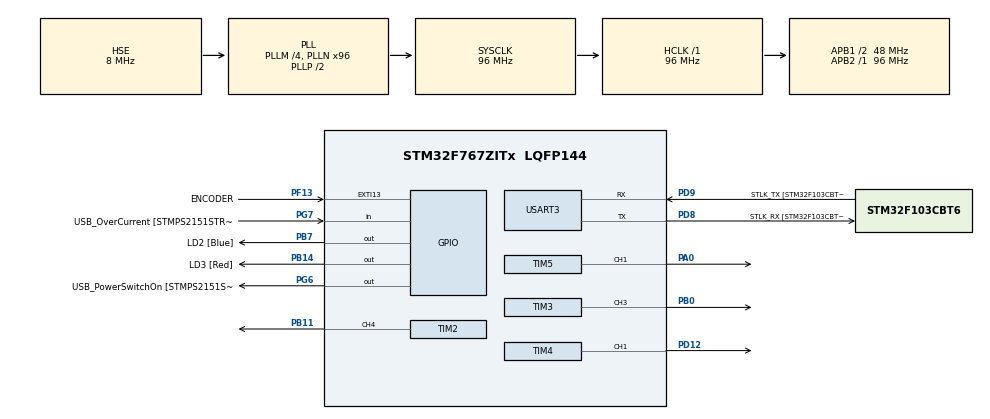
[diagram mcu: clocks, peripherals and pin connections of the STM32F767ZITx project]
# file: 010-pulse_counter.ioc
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Mcu.Family=STM32F7
Mcu.Name=STM32F767ZITx
Mcu.Package=LQFP144
NVIC.EXTI15_10_IRQn=true\:0\:0\:false\:false\:true\:true\:true\:true
NVIC.PriorityGroup=NVIC_PRIORITYGROUP_4
PA0/WKUP.Signal=S_TIM5_CH1
PA1.GPIO_Label=RMII_REF_CLK [LAN8742A-CZ-TR_REFCLK0]
PA1.Signal=ETH_REF_CLK
PA10.GPIO_Label=USB_ID
PA10.Signal=USB_OTG_FS_ID
PA11.GPIO_Label=USB_DM
PA11.Signal=USB_OTG_FS_DM
PA12.GPIO_Label=USB_DP
PA12.Signal=USB_OTG_FS_DP
PA13.GPIO_Label=TMS
PA13.Mode=Serial_Wire
PA13.Signal=SYS_JTMS-SWDIO
PA14.GPIO_Label=TCK
PA14.Mode=Serial_Wire
PA14.Signal=SYS_JTCK-SWCLK
PA2.GPIO_Label=RMII_MDIO [LAN8742A-CZ-TR_MDIO]
PA2.Signal=ETH_MDIO
PA7.GPIO_Label=RMII_CRS_DV [LAN8742A-CZ-TR_CRS_DV]
PA7.Signal=ETH_CRS_DV
PA8.GPIO_Label=USB_SOF [TP1]
PA8.Signal=USB_OTG_FS_SOF
PA9.GPIO_Label=USB_VBUS
PA9.Signal=USB_OTG_FS_VBUS
PB0.Signal=S_TIM3_CH3
PB11.Signal=S_TIM2_CH4
PB13.GPIO_Label=RMII_TXD1 [LAN8742A-CZ-TR_TXD1]
PB13.Signal=ETH_TXD1
PB14.GPIO_Label=LD3 [Red]
PB14.Signal=GPIO_Output
PB3.GPIO_Label=SWO
PB3.Signal=SYS_JTDO-SWO
PB7.GPIO_Label=LD2 [Blue]
PB7.Signal=GPIO_Output
PC1.GPIO_Label=RMII_MDC [LAN8742A-CZ-TR_MDC]
PC1.Signal=ETH_MDC
PC14/OSC32_IN.Mode=LSE-External-Oscillator
PC14/OSC32_IN.Signal=RCC_OSC32_IN
PC15/OSC32_OUT.Mode=LSE-External-Oscillator
PC15/OSC32_OUT.Signal=RCC_OSC32_OUT
PC4.GPIO_Label=RMII_RXD0 [LAN8742A-CZ-TR_RXD0]
PC4.Signal=ETH_RXD0
PC5.GPIO_Label=RMII_RXD1 [LAN8742A-CZ-TR_RXD1]
PC5.Signal=ETH_RXD1
PD12.Signal=S_TIM4_CH1
PD8.GPIO_Label=STLK_RX [STM32F103CBT6_PA3]
PD8.Mode=Asynchronous
PD8.Signal=USART3_TX
PD9.GPIO_Label=STLK_TX [STM32F103CBT6_PA2]
PD9.Mode=Asynchronous
PD9.Signal=USART3_RX
PF13.GPIO_Label=ENCODER
PF13.GPIO_PuPd=GPIO_PULLUP
PF13.Signal=GPXTI13
PG11.GPIO_Label=RMII_TX_EN [LAN8742A-CZ-TR_TXEN]
PG11.Signal=ETH_TX_EN
PG13.GPIO_Label=RMII_TXD0 [LAN8742A-CZ-TR_TXD0]
PG13.Signal=ETH_TXD0
PG6.GPIO_Label=USB_PowerSwitchOn [STMPS2151STR_EN]
PG6.Signal=GPIO_Output
PG7.GPIO_Label=USB_OverCurrent [STMPS2151STR_FAULT]
PG7.Signal=GPIO_Input
PH0/OSC_IN.GPIO_Label=MCO [STM32F103CBT6_PA8]
PH0/OSC_IN.Mode=HSE-External-Clock-Source
PH0/OSC_IN.Signal=RCC_OSC_IN
PH1/OSC_OUT.Mode=HSE-External-Clock-Source
PH1/OSC_OUT.Signal=RCC_OSC_OUT
ProjectManager.HeapSize=0x200
ProjectManager.StackSize=0x400
ProjectManager.TargetToolchain=STM32CubeIDE
RCC.48MHZClocksFreq_Value=24000000
RCC.AHBFreq_Value=96000000
RCC.APB1CLKDivider=RCC_HCLK_DIV2
RCC.APB1Freq_Value=48000000
RCC.APB1TimFreq_Value=96000000
RCC.APB2Freq_Value=96000000
RCC.APB2TimFreq_Value=96000000
RCC.CortexFreq_Value=96000000
RCC.HCLKFreq_Value=96000000
RCC.HSE_VALUE=8000000
RCC.HSI_VALUE=16000000
RCC.PLLM=4
RCC.PLLMUL=RCC_PLL_MUL9
RCC.PLLN=96
RCC.PLLQ=4
RCC.PLLSourceVirtual=RCC_PLLSOURCE_HSE
RCC.PRESCALERUSB=RCC_USBCLKSOURCE_PLL_DIV1_5
RCC.SYSCLKFreq_VALUE=96000000
RCC.SYSCLKSource=RCC_SYSCLKSOURCE_PLLCLK
RCC.SYSCLKSourceVirtual=RCC_SYSCLKSOURCE_PLLCLK
RCC.USBFreq_Value=48000000
RCC.VCOOutputFreq_Value=192000000
SH.S_TIM2_CH4.0=TIM2_CH4,PWM Generation4 CH4
SH.S_TIM3_CH3.0=TIM3_CH3,PWM Generation3 CH3
SH.S_TIM4_CH1.0=TIM4_CH1,PWM Generation1 CH1
SH.S_TIM5_CH1.0=TIM5_CH1,PWM Generation1 CH1
TIM2.Channel-PWM\ Generation4\ CH4=TIM_CHANNEL_4
TIM2.Period=1023
TIM2.Prescaler=128
TIM3.Channel-PWM\ Generation3\ CH3=TIM_CHANNEL_3
TIM3.Period=1023
TIM3.Prescaler=256
TIM4.Channel-PWM\ Generation1\ CH1=TIM_CHANNEL_1
TIM4.Period=1023
TIM4.Prescaler=1024
TIM5.Channel-PWM\ Generation1\ CH1=TIM_CHANNEL_1
TIM5.Period=1023
TIM5.Prescaler=512
USART3.VirtualMode-Asynchronous=VM_ASYNC
VP_TIM2_VS_ClockSourceINT.Mode=Internal
VP_TIM3_VS_ClockSourceINT.Mode=Internal
VP_TIM4_VS_ClockSourceINT.Mode=Internal
VP_TIM5_VS_ClockSourceINT.Mode=Internal
board=NUCLEO-F767ZI

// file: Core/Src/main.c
/* USER CODE BEGIN Header */
/**
 ******************************************************************************
 * @file           : main.c
 * @brief          : Main program body
 ******************************************************************************
 * @attention
 *
 * Copyright (c) 2022 STMicroelectronics.
 * All rights reserved.
 *
 * This software is licensed under terms that can be found in the LICENSE file
 * in the root directory of this software component.
 * If no LICENSE file comes with this software, it is provided AS-IS.
 *
 ******************************************************************************
 */
/* USER CODE END Header */
#include "main.h"

/* USER CODE BEGIN Includes */
#include <stdio.h>
#include <string.h>
/* USER CODE END Includes */

TIM_HandleTypeDef htim2;
TIM_HandleTypeDef htim3;
TIM_HandleTypeDef htim4;
TIM_HandleTypeDef htim5;

UART_HandleTypeDef huart3;

/* USER CODE BEGIN PV */
uint16_t counts;
/* USER CODE END PV */

void SystemClock_Config(void);
static void MX_GPIO_Init(void);
static void MX_USART3_UART_Init(void);
static void MX_TIM4_Init(void);
static void MX_TIM2_Init(void);
static void MX_TIM3_Init(void);
static void MX_TIM5_Init(void);

int main(void)
{

	/* MCU Configuration--------------------------------------------------------*/

	/* Reset of all peripherals, Initializes the Flash interface and the Systick. */
	HAL_Init();

	/* Configure the system clock */
	SystemClock_Config();

	/* Initialize all configured peripherals */
	MX_GPIO_Init();
	MX_USART3_UART_Init();
	MX_TIM4_Init();
	MX_TIM2_Init();
	MX_TIM3_Init();
	MX_TIM5_Init();
	/* USER CODE BEGIN 2 */
	char buffer_usart[32];

	HAL_TIM_PWM_Start(&htim2, TIM_CHANNEL_4);
	HAL_TIM_PWM_Start(&htim3, TIM_CHANNEL_3);
	HAL_TIM_PWM_Start(&htim4, TIM_CHANNEL_1);
	HAL_TIM_PWM_Start(&htim5, TIM_CHANNEL_1);

	int pulse = 52;

	__HAL_TIM_SET_COMPARE(&htim2, TIM_CHANNEL_4, pulse);
	__HAL_TIM_SET_COMPARE(&htim3, TIM_CHANNEL_3, pulse);
	__HAL_TIM_SET_COMPARE(&htim4, TIM_CHANNEL_1, pulse);
	__HAL_TIM_SET_COMPARE(&htim5, TIM_CHANNEL_1, pulse);
	/* USER CODE END 2 */

	/* Infinite loop */
	while (1){

		/* USER CODE BEGIN 3 */
		snprintf(buffer_usart, 16, "Counts: %d\n", counts);
		HAL_UART_Transmit(&huart3, buffer_usart, strlen(buffer_usart), 10);
		memset(&buffer_usart[0], 0, sizeof(buffer_usart)); // clear the buffer

		counts = 0;

		HAL_GPIO_TogglePin(LD3_GPIO_Port, LD3_Pin);
		HAL_Delay(500);
		HAL_GPIO_TogglePin(LD3_GPIO_Port, LD3_Pin);
		HAL_Delay(500);
	}
	/* USER CODE END 3 */
}

void SystemClock_Config(void)
{
	RCC_OscInitTypeDef RCC_OscInitStruct = {0};
	RCC_ClkInitTypeDef RCC_ClkInitStruct = {0};

	/** Configure LSE Drive Capability
	 */
	HAL_PWR_EnableBkUpAccess();

	/** Configure the main internal regulator output voltage
	 */
	__HAL_RCC_PWR_CLK_ENABLE();
	__HAL_PWR_VOLTAGESCALING_CONFIG(PWR_REGULATOR_VOLTAGE_SCALE3);

	/** Initializes the RCC Oscillators according to the specified parameters
	 * in the RCC_OscInitTypeDef structure.
	 */
	RCC_OscInitStruct.OscillatorType = RCC_OSCILLATORTYPE_HSE;
	RCC_OscInitStruct.HSEState = RCC_HSE_BYPASS;
	RCC_OscInitStruct.PLL.PLLState = RCC_PLL_ON;
	RCC_OscInitStruct.PLL.PLLSource = RCC_PLLSOURCE_HSE;
	RCC_OscInitStruct.PLL.PLLM = 4;
	RCC_OscInitStruct.PLL.PLLN = 96;
	RCC_OscInitStruct.PLL.PLLP = RCC_PLLP_DIV2;
	RCC_OscInitStruct.PLL.PLLQ = 4;
	RCC_OscInitStruct.PLL.PLLR = 2;
	if (HAL_RCC_OscConfig(&RCC_OscInitStruct) != HAL_OK)
	{
		Error_Handler();
	}

	/** Activate the Over-Drive mode
	 */
	if (HAL_PWREx_EnableOverDrive() != HAL_OK)
	{
		Error_Handler();
	}

	/** Initializes the CPU, AHB and APB buses clocks
	 */
	RCC_ClkInitStruct.ClockType = RCC_CLOCKTYPE_HCLK|RCC_CLOCKTYPE_SYSCLK
			|RCC_CLOCKTYPE_PCLK1|RCC_CLOCKTYPE_PCLK2;
	RCC_ClkInitStruct.SYSCLKSource = RCC_SYSCLKSOURCE_PLLCLK;
	RCC_ClkInitStruct.AHBCLKDivider = RCC_SYSCLK_DIV1;
	RCC_ClkInitStruct.APB1CLKDivider = RCC_HCLK_DIV2;
	RCC_ClkInitStruct.APB2CLKDivider = RCC_HCLK_DIV1;

	if (HAL_RCC_ClockConfig(&RCC_ClkInitStruct, FLASH_LATENCY_3) != HAL_OK)
	{
		Error_Handler();
	}
}

static void MX_TIM2_Init(void)
{

	TIM_ClockConfigTypeDef sClockSourceConfig = {0};
	TIM_MasterConfigTypeDef sMasterConfig = {0};
	TIM_OC_InitTypeDef sConfigOC = {0};

	htim2.Instance = TIM2;
	htim2.Init.Prescaler = 128;
	htim2.Init.CounterMode = TIM_COUNTERMODE_UP;
	htim2.Init.Period = 1023;
	htim2.Init.ClockDivision = TIM_CLOCKDIVISION_DIV1;
	htim2.Init.AutoReloadPreload = TIM_AUTORELOAD_PRELOAD_DISABLE;
	if (HAL_TIM_Base_Init(&htim2) != HAL_OK)
	{
		Error_Handler();
	}
	sClockSourceConfig.ClockSource = TIM_CLOCKSOURCE_INTERNAL;
	if (HAL_TIM_ConfigClockSource(&htim2, &sClockSourceConfig) != HAL_OK)
	{
		Error_Handler();
	}
	if (HAL_TIM_PWM_Init(&htim2) != HAL_OK)
	{
		Error_Handler();
	}
	sMasterConfig.MasterOutputTrigger = TIM_TRGO_RESET;
	sMasterConfig.MasterSlaveMode = TIM_MASTERSLAVEMODE_DISABLE;
	if (HAL_TIMEx_MasterConfigSynchronization(&htim2, &sMasterConfig) != HAL_OK)
	{
		Error_Handler();
	}
	sConfigOC.OCMode = TIM_OCMODE_PWM1;
	sConfigOC.Pulse = 0;
	sConfigOC.OCPolarity = TIM_OCPOLARITY_HIGH;
	sConfigOC.OCFastMode = TIM_OCFAST_DISABLE;
	if (HAL_TIM_PWM_ConfigChannel(&htim2, &sConfigOC, TIM_CHANNEL_4) != HAL_OK)
	{
		Error_Handler();
	}
	HAL_TIM_MspPostInit(&htim2);

}

static void MX_TIM3_Init(void)
{

	TIM_ClockConfigTypeDef sClockSourceConfig = {0};
	TIM_MasterConfigTypeDef sMasterConfig = {0};
	TIM_OC_InitTypeDef sConfigOC = {0};

	htim3.Instance = TIM3;
	htim3.Init.Prescaler = 256;
	htim3.Init.CounterMode = TIM_COUNTERMODE_UP;
	htim3.Init.Period = 1023;
	htim3.Init.ClockDivision = TIM_CLOCKDIVISION_DIV1;
	htim3.Init.AutoReloadPreload = TIM_AUTORELOAD_PRELOAD_DISABLE;
	if (HAL_TIM_Base_Init(&htim3) != HAL_OK)
	{
		Error_Handler();
	}
	sClockSourceConfig.ClockSource = TIM_CLOCKSOURCE_INTERNAL;
	if (HAL_TIM_ConfigClockSource(&htim3, &sClockSourceConfig) != HAL_OK)
	{
		Error_Handler();
	}
	if (HAL_TIM_PWM_Init(&htim3) != HAL_OK)
	{
		Error_Handler();
	}
	sMasterConfig.MasterOutputTrigger = TIM_TRGO_RESET;
	sMasterConfig.MasterSlaveMode = TIM_MASTERSLAVEMODE_DISABLE;
	if (HAL_TIMEx_MasterConfigSynchronization(&htim3, &sMasterConfig) != HAL_OK)
	{
		Error_Handler();
	}
	sConfigOC.OCMode = TIM_OCMODE_PWM1;
	sConfigOC.Pulse = 0;
	sConfigOC.OCPolarity = TIM_OCPOLARITY_HIGH;
	sConfigOC.OCFastMode = TIM_OCFAST_DISABLE;
	if (HAL_TIM_PWM_ConfigChannel(&htim3, &sConfigOC, TIM_CHANNEL_3) != HAL_OK)
	{
		Error_Handler();
	}
	HAL_TIM_MspPostInit(&htim3);

}

static void MX_TIM4_Init(void)
{

	TIM_ClockConfigTypeDef sClockSourceConfig = {0};
	TIM_MasterConfigTypeDef sMasterConfig = {0};
	TIM_OC_InitTypeDef sConfigOC = {0};

	htim4.Instance = TIM4;
	htim4.Init.Prescaler = 1024;
	htim4.Init.CounterMode = TIM_COUNTERMODE_UP;
	htim4.Init.Period = 1023;
	htim4.Init.ClockDivision = TIM_CLOCKDIVISION_DIV1;
	htim4.Init.AutoReloadPreload = TIM_AUTORELOAD_PRELOAD_DISABLE;
	if (HAL_TIM_Base_Init(&htim4) != HAL_OK)
	{
		Error_Handler();
	}
	sClockSourceConfig.ClockSource = TIM_CLOCKSOURCE_INTERNAL;
	if (HAL_TIM_ConfigClockSource(&htim4, &sClockSourceConfig) != HAL_OK)
	{
		Error_Handler();
	}
	if (HAL_TIM_PWM_Init(&htim4) != HAL_OK)
	{
		Error_Handler();
	}
	sMasterConfig.MasterOutputTrigger = TIM_TRGO_RESET;
	sMasterConfig.MasterSlaveMode = TIM_MASTERSLAVEMODE_DISABLE;
	if (HAL_TIMEx_MasterConfigSynchronization(&htim4, &sMasterConfig) != HAL_OK)
	{
		Error_Handler();
	}
	sConfigOC.OCMode = TIM_OCMODE_PWM1;
	sConfigOC.Pulse = 0;
	sConfigOC.OCPolarity = TIM_OCPOLARITY_HIGH;
	sConfigOC.OCFastMode = TIM_OCFAST_DISABLE;
	if (HAL_TIM_PWM_ConfigChannel(&htim4, &sConfigOC, TIM_CHANNEL_1) != HAL_OK)
	{
		Error_Handler();
	}
	HAL_TIM_MspPostInit(&htim4);

}

static void MX_TIM5_Init(void)
{

	TIM_ClockConfigTypeDef sClockSourceConfig = {0};
	TIM_MasterConfigTypeDef sMasterConfig = {0};
	TIM_OC_InitTypeDef sConfigOC = {0};

	htim5.Instance = TIM5;
	htim5.Init.Prescaler = 512;
	htim5.Init.CounterMode = TIM_COUNTERMODE_UP;
	htim5.Init.Period = 1023;
	htim5.Init.ClockDivision = TIM_CLOCKDIVISION_DIV1;
	htim5.Init.AutoReloadPreload = TIM_AUTORELOAD_PRELOAD_DISABLE;
	if (HAL_TIM_Base_Init(&htim5) != HAL_OK)
	{
		Error_Handler();
	}
	sClockSourceConfig.ClockSource = TIM_CLOCKSOURCE_INTERNAL;
	if (HAL_TIM_ConfigClockSource(&htim5, &sClockSourceConfig) != HAL_OK)
	{
		Error_Handler();
	}
	if (HAL_TIM_PWM_Init(&htim5) != HAL_OK)
	{
		Error_Handler();
	}
	sMasterConfig.MasterOutputTrigger = TIM_TRGO_RESET;
	sMasterConfig.MasterSlaveMode = TIM_MASTERSLAVEMODE_DISABLE;
	if (HAL_TIMEx_MasterConfigSynchronization(&htim5, &sMasterConfig) != HAL_OK)
	{
		Error_Handler();
	}
	sConfigOC.OCMode = TIM_OCMODE_PWM1;
	sConfigOC.Pulse = 0;
	sConfigOC.OCPolarity = TIM_OCPOLARITY_HIGH;
	sConfigOC.OCFastMode = TIM_OCFAST_DISABLE;
	if (HAL_TIM_PWM_ConfigChannel(&htim5, &sConfigOC, TIM_CHANNEL_1) != HAL_OK)
	{
		Error_Handler();
	}
	HAL_TIM_MspPostInit(&htim5);

}

static void MX_USART3_UART_Init(void)
{

	huart3.Instance = USART3;
	huart3.Init.BaudRate = 115200;
	huart3.Init.WordLength = UART_WORDLENGTH_8B;
	huart3.Init.StopBits = UART_STOPBITS_1;
	huart3.Init.Parity = UART_PARITY_NONE;
	huart3.Init.Mode = UART_MODE_TX_RX;
	huart3.Init.HwFlowCtl = UART_HWCONTROL_NONE;
	huart3.Init.OverSampling = UART_OVERSAMPLING_16;
	huart3.Init.OneBitSampling = UART_ONE_BIT_SAMPLE_DISABLE;
	huart3.AdvancedInit.AdvFeatureInit = UART_ADVFEATURE_NO_INIT;
	if (HAL_UART_Init(&huart3) != HAL_OK)
	{
		Error_Handler();
	}

}

static void MX_GPIO_Init(void)
{
	GPIO_InitTypeDef GPIO_InitStruct = {0};

	/* GPIO Ports Clock Enable */
	__HAL_RCC_GPIOC_CLK_ENABLE();
	__HAL_RCC_GPIOH_CLK_ENABLE();
	__HAL_RCC_GPIOA_CLK_ENABLE();
	__HAL_RCC_GPIOB_CLK_ENABLE();
	__HAL_RCC_GPIOF_CLK_ENABLE();
	__HAL_RCC_GPIOD_CLK_ENABLE();
	__HAL_RCC_GPIOG_CLK_ENABLE();

	/*Configure GPIO pin Output Level */
	HAL_GPIO_WritePin(GPIOB, LD3_Pin|LD2_Pin, GPIO_PIN_RESET);

	/*Configure GPIO pin Output Level */
	HAL_GPIO_WritePin(USB_PowerSwitchOn_GPIO_Port, USB_PowerSwitchOn_Pin, GPIO_PIN_RESET);

	/*Configure GPIO pins : RMII_MDC_Pin RMII_RXD0_Pin RMII_RXD1_Pin */
	GPIO_InitStruct.Pin = RMII_MDC_Pin|RMII_RXD0_Pin|RMII_RXD1_Pin;
	GPIO_InitStruct.Mode = GPIO_MODE_AF_PP;
	GPIO_InitStruct.Pull = GPIO_NOPULL;
	GPIO_InitStruct.Speed = GPIO_SPEED_FREQ_VERY_HIGH;
	GPIO_InitStruct.Alternate = GPIO_AF11_ETH;
	HAL_GPIO_Init(GPIOC, &GPIO_InitStruct);

	/*Configure GPIO pins : RMII_REF_CLK_Pin RMII_MDIO_Pin RMII_CRS_DV_Pin */
	GPIO_InitStruct.Pin = RMII_REF_CLK_Pin|RMII_MDIO_Pin|RMII_CRS_DV_Pin;
	GPIO_InitStruct.Mode = GPIO_MODE_AF_PP;
	GPIO_InitStruct.Pull = GPIO_NOPULL;
	GPIO_InitStruct.Speed = GPIO_SPEED_FREQ_VERY_HIGH;
	GPIO_InitStruct.Alternate = GPIO_AF11_ETH;
	HAL_GPIO_Init(GPIOA, &GPIO_InitStruct);

	/*Configure GPIO pin : ENCODER_Pin */
	GPIO_InitStruct.Pin = ENCODER_Pin;
	GPIO_InitStruct.Mode = GPIO_MODE_IT_RISING;
	GPIO_InitStruct.Pull = GPIO_PULLUP;
	HAL_GPIO_Init(ENCODER_GPIO_Port, &GPIO_InitStruct);

	/*Configure GPIO pin : RMII_TXD1_Pin */
	GPIO_InitStruct.Pin = RMII_TXD1_Pin;
	GPIO_InitStruct.Mode = GPIO_MODE_AF_PP;
	GPIO_InitStruct.Pull = GPIO_NOPULL;
	GPIO_InitStruct.Speed = GPIO_SPEED_FREQ_VERY_HIGH;
	GPIO_InitStruct.Alternate = GPIO_AF11_ETH;
	HAL_GPIO_Init(RMII_TXD1_GPIO_Port, &GPIO_InitStruct);

	/*Configure GPIO pins : LD3_Pin LD2_Pin */
	GPIO_InitStruct.Pin = LD3_Pin|LD2_Pin;
	GPIO_InitStruct.Mode = GPIO_MODE_OUTPUT_PP;
	GPIO_InitStruct.Pull = GPIO_NOPULL;
	GPIO_InitStruct.Speed = GPIO_SPEED_FREQ_LOW;
	HAL_GPIO_Init(GPIOB, &GPIO_InitStruct);

	/*Configure GPIO pin : USB_PowerSwitchOn_Pin */
	GPIO_InitStruct.Pin = USB_PowerSwitchOn_Pin;
	GPIO_InitStruct.Mode = GPIO_MODE_OUTPUT_PP;
	GPIO_InitStruct.Pull = GPIO_NOPULL;
	GPIO_InitStruct.Speed = GPIO_SPEED_FREQ_LOW;
	HAL_GPIO_Init(USB_PowerSwitchOn_GPIO_Port, &GPIO_InitStruct);

	/*Configure GPIO pin : USB_OverCurrent_Pin */
	GPIO_InitStruct.Pin = USB_OverCurrent_Pin;
	GPIO_InitStruct.Mode = GPIO_MODE_INPUT;
	GPIO_InitStruct.Pull = GPIO_NOPULL;
	HAL_GPIO_Init(USB_OverCurrent_GPIO_Port, &GPIO_InitStruct);

	/*Configure GPIO pins : USB_SOF_Pin USB_ID_Pin USB_DM_Pin USB_DP_Pin */
	GPIO_InitStruct.Pin = USB_SOF_Pin|USB_ID_Pin|USB_DM_Pin|USB_DP_Pin;
	GPIO_InitStruct.Mode = GPIO_MODE_AF_PP;
	GPIO_InitStruct.Pull = GPIO_NOPULL;
	GPIO_InitStruct.Speed = GPIO_SPEED_FREQ_VERY_HIGH;
	GPIO_InitStruct.Alternate = GPIO_AF10_OTG_FS;
	HAL_GPIO_Init(GPIOA, &GPIO_InitStruct);

	/*Configure GPIO pin : USB_VBUS_Pin */
	GPIO_InitStruct.Pin = USB_VBUS_Pin;
	GPIO_InitStruct.Mode = GPIO_MODE_INPUT;
	GPIO_InitStruct.Pull = GPIO_NOPULL;
	HAL_GPIO_Init(USB_VBUS_GPIO_Port, &GPIO_InitStruct);

	/*Configure GPIO pins : RMII_TX_EN_Pin RMII_TXD0_Pin */
	GPIO_InitStruct.Pin = RMII_TX_EN_Pin|RMII_TXD0_Pin;
	GPIO_InitStruct.Mode = GPIO_MODE_AF_PP;
	GPIO_InitStruct.Pull = GPIO_NOPULL;
	GPIO_InitStruct.Speed = GPIO_SPEED_FREQ_VERY_HIGH;
	GPIO_InitStruct.Alternate = GPIO_AF11_ETH;
	HAL_GPIO_Init(GPIOG, &GPIO_InitStruct);

	/* EXTI interrupt init*/
	HAL_NVIC_SetPriority(EXTI15_10_IRQn, 0, 0);
	HAL_NVIC_EnableIRQ(EXTI15_10_IRQn);

}

/* USER CODE BEGIN 4 */

/**
 * @brief  EXTI line detection callbacks.
 * @param  GPIO_Pin Specifies the pins connected EXTI line
 * @retval None
 */
void HAL_GPIO_EXTI_Callback(uint16_t GPIO_Pin){
	counts++;
}
/* USER CODE END 4 */

void Error_Handler(void)
{
	__disable_irq();
	while (1)
	{
	}
}
